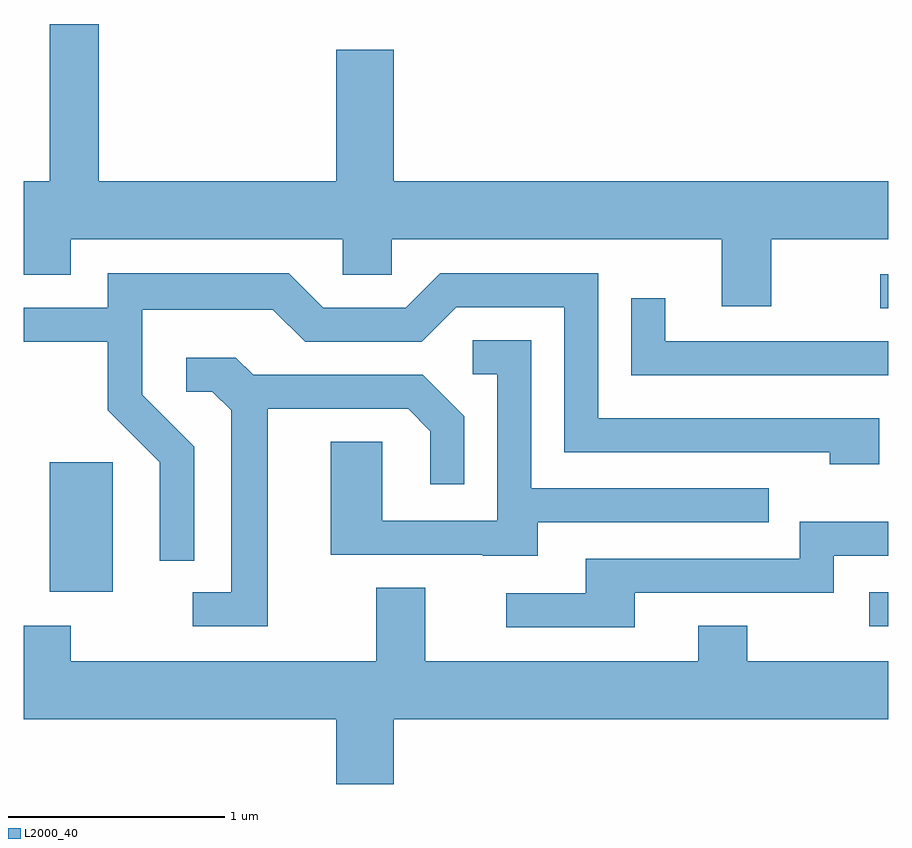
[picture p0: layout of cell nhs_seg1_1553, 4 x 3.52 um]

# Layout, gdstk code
import gdstk
lib = gdstk.Library(unit=1e-6, precision=1e-09)
def R(c, l, rs):  # rectangles x0, y0, x1, y1
    for r in rs: c.add(gdstk.rectangle(r[:2], r[2:], *l))
def P(c, l, *ps):  # polygons
    for p in ps: c.add(gdstk.Polygon(p, *l))
L2000_40 = (2000, 40)

nhs_seg1_1553 = lib.new_cell('nhs_seg1_1553')
R(nhs_seg1_1553, L2000_40, [(237.523,868.926,237.611,869.084), (233.731,869.086,234.024,869.684), (237.573,870.396,237.611,870.554)])
P(nhs_seg1_1553, L2000_40, [(237.069,870.716),(237.611,870.716),(237.611,870.984),(235.324,870.984),(235.324,871.594),(235.056,871.594),(235.056,870.984),(233.959,870.984),(233.959,871.712),(233.731,871.712),(233.731,870.984),(233.611,870.984),(233.611,870.551),(233.829,870.551),(233.829,870.716),(235.086,870.716),(235.086,870.551),(235.314,870.551),(235.314,870.716),(236.841,870.716),(236.841,870.406),(237.069,870.406)],
  [(234.399,869.757),(234.159,869.997),(234.159,870.391),(234.764,870.391),(234.914,870.241),(235.452,870.241),(235.612,870.401),(236.111,870.401),(236.111,869.731),(237.341,869.731),(237.341,869.676),(237.569,869.676),(237.569,869.889),(236.269,869.889),(236.269,870.559),(235.539,870.559),(235.379,870.399),(234.997,870.399),(234.837,870.559),(234.001,870.559),(234.001,870.399),(233.611,870.399),(233.611,870.241),(234.001,870.241),(234.001,869.924),(234.241,869.684),(234.241,869.228),(234.399,869.228)],
  [(237.611,870.244),(236.579,870.244),(236.579,870.443),(236.421,870.443),(236.421,870.086),(237.611,870.086)],
  [(235.989,869.406),(237.058,869.406),(237.058,869.564),(235.959,869.564),(235.959,870.249),(235.688,870.249),(235.688,870.091),(235.801,870.091),(235.801,869.414),(235.269,869.414),(235.269,869.779),(235.031,869.779),(235.031,869.256),(235.735,869.256),(235.735,869.251),(235.989,869.251)],
  [(234.739,869.931),(235.389,869.931),(235.491,869.829),(235.491,869.583),(235.649,869.583),(235.649,869.897),(235.457,870.089),(234.672,870.089),(234.592,870.169),(234.363,870.169),(234.363,870.011),(234.484,870.011),(234.571,869.924),(234.571,869.084),(234.393,869.084),(234.393,868.926),(234.739,868.926)],
  [(236.439,869.081),(237.359,869.081),(237.359,869.251),(237.611,869.251),(237.611,869.409),(237.201,869.409),(237.201,869.239),(236.211,869.239),(236.211,869.079),(235.843,869.079),(235.843,868.921),(236.439,868.921)],
  [(235.324,868.496),(237.611,868.496),(237.611,868.764),(236.959,868.764),(236.959,868.929),(236.731,868.929),(236.731,868.764),(235.469,868.764),(235.469,869.104),(235.241,869.104),(235.241,868.764),(233.829,868.764),(233.829,868.929),(233.611,868.929),(233.611,868.496),(235.056,868.496),(235.056,868.196),(235.324,868.196)])

lib.write_gds('nhs_seg1_1553.gds')
